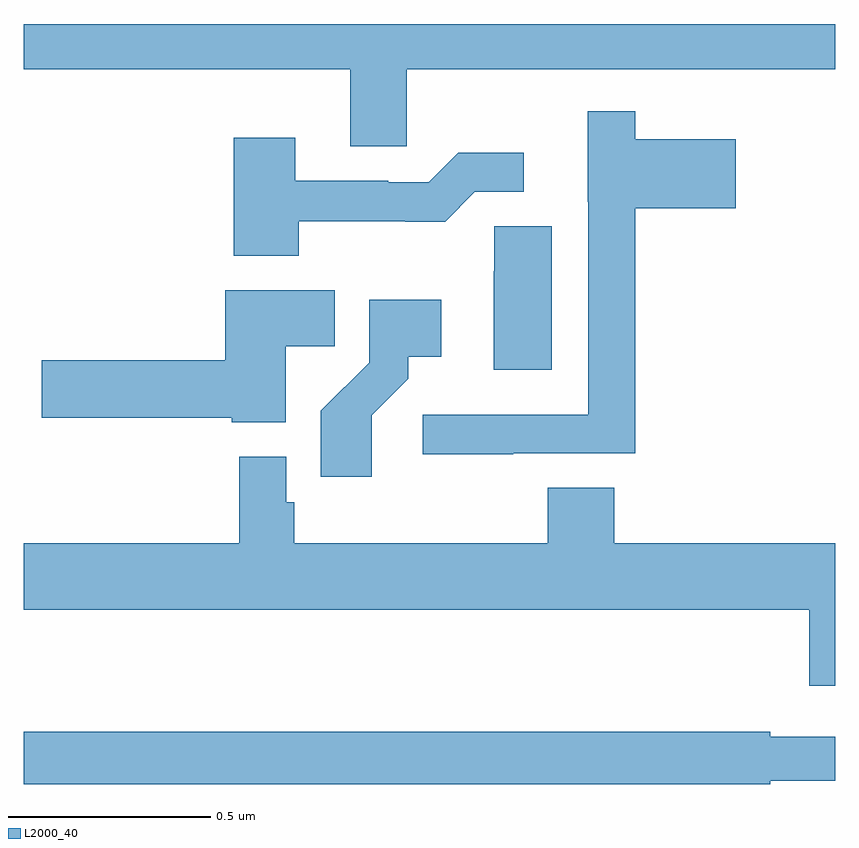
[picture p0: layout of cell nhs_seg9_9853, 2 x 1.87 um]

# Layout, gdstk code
import gdstk
lib = gdstk.Library(unit=1e-6, precision=1e-09)
def P(c, l, *ps):  # polygons
    for p in ps: c.add(gdstk.Polygon(p, *l))
L2000_40 = (2000, 40)

nhs_seg9_9853 = lib.new_cell('nhs_seg9_9853')
P(nhs_seg9_9853, L2000_40, [(235.944,1228.388),(237,1228.388),(237,1228.5),(235,1228.5),(235,1228.388),(235.805,1228.388),(235.805,1228.198),(235.944,1228.198)],
  [(236.207,1227.441),(236.507,1227.441),(236.507,1228.046),(236.755,1228.046),(236.755,1228.216),(236.507,1228.216),(236.507,1228.285),(236.39,1228.285),(236.39,1228.062),(236.391,1228.062),(236.391,1227.537),(235.983,1227.537),(235.983,1227.439),(236.207,1227.439)],
  [(235.677,1228.014),(235.94,1228.014),(235.94,1228.013),(236.039,1228.013),(236.112,1228.086),(236.233,1228.086),(236.233,1228.183),(236.071,1228.183),(235.998,1228.11),(235.898,1228.11),(235.898,1228.113),(235.669,1228.113),(235.669,1228.219),(235.517,1228.219),(235.517,1227.929),(235.677,1227.929)],
  [(236.302,1228.001),(236.16,1228.001),(236.16,1227.89),(236.159,1227.89),(236.159,1227.648),(236.302,1227.648)],
  [(235.645,1227.706),(235.766,1227.706),(235.766,1227.844),(235.496,1227.844),(235.496,1227.671),(235.044,1227.671),(235.044,1227.529),(235.512,1227.529),(235.512,1227.518),(235.645,1227.518)],
  [(235.858,1227.535),(235.948,1227.625),(235.948,1227.68),(236.029,1227.68),(236.029,1227.82),(235.851,1227.82),(235.851,1227.665),(235.732,1227.546),(235.732,1227.384),(235.858,1227.384)],
  [(237,1227.22),(236.456,1227.22),(236.456,1227.356),(236.291,1227.356),(236.291,1227.22),(235.667,1227.22),(235.667,1227.321),(235.647,1227.321),(235.647,1227.433),(235.531,1227.433),(235.531,1227.22),(235,1227.22),(235,1227.056),(236.936,1227.056),(236.936,1226.868),(237,1226.868)],
  [(236.84,1226.634),(237,1226.634),(237,1226.742),(236.84,1226.742),(236.84,1226.755),(235,1226.755),(235,1226.626),(236.84,1226.626)])

lib.write_gds('nhs_seg9_9853.gds')
